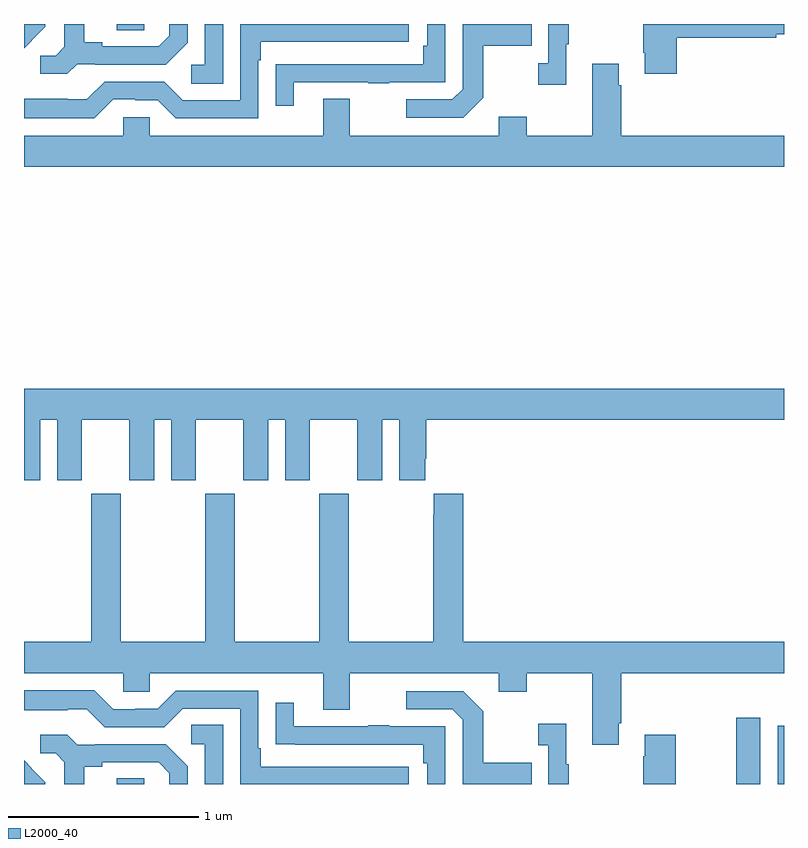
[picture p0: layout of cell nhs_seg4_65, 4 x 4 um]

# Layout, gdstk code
import gdstk
lib = gdstk.Library(unit=1e-6, precision=1e-09)
def R(c, l, rs):  # rectangles x0, y0, x1, y1
    for r in rs: c.add(gdstk.rectangle(r[:2], r[2:], *l))
def P(c, l, *ps):  # polygons
    for p in ps: c.add(gdstk.Polygon(p, *l))
L2000_40 = (2000, 40)

nhs_seg4_65 = lib.new_cell('nhs_seg4_65')
R(nhs_seg4_65, L2000_40, [(113.489,798.9,113.634,798.929), (116.749,798.9,116.875,799.249), (116.966,798.9,117,799.207), (113.489,802.867,113.634,802.9)])
P(nhs_seg4_65, L2000_40, [(115.417,802.513),(115.417,802.786),(115.673,802.786),(115.673,802.9),(115.308,802.9),(115.308,802.557),(115.254,802.503),(115.011,802.503),(115.011,802.407),(115.311,802.407)],
  [(113.469,802.503),(113.585,802.503),(113.585,802.5),(113.703,802.5),(113.799,802.404),(114.234,802.404),(114.234,802.709),(114.247,802.709),(114.247,802.806),(115.024,802.806),(115.024,802.9),(114.138,802.9),(114.138,802.5),(113.835,802.5),(113.739,802.596),(113.424,802.596),(113.331,802.503),(113.231,802.503),(113.231,802.507),(113,802.507),(113,802.403),(113.369,802.403)],
  [(113.04,802.812),(113.039,802.813),(113.112,802.886),(113.112,802.9),(113,802.9),(113,802.772)],
  [(114.421,802.593),(114.811,802.593),(114.811,802.588),(114.923,802.588),(114.923,802.593),(115.218,802.593),(115.218,802.9),(115.122,802.9),(115.122,802.786),(115.102,802.786),(115.102,802.689),(114.427,802.689),(114.427,802.688),(114.325,802.688),(114.325,802.47),(114.421,802.47)],
  [(113.28,802.689),(113.374,802.689),(113.374,802.686),(113.746,802.686),(113.862,802.802),(113.862,802.9),(113.765,802.9),(113.765,802.839),(113.708,802.782),(113.413,802.782),(113.413,802.805),(113.317,802.805),(113.317,802.9),(113.213,802.9),(113.213,802.781),(113.166,802.734),(113.085,802.734),(113.085,802.637),(113.228,802.637)],
  [(116.435,802.828),(116.96,802.828),(116.96,802.847),(117,802.847),(117,802.9),(116.26,802.9),(116.26,802.75),(116.267,802.75),(116.267,802.638),(116.435,802.638)],
  [(114.048,802.9),(113.952,802.9),(113.952,802.686),(113.88,802.686),(113.88,802.585),(114.048,802.585)],
  [(115.855,802.793),(115.867,802.793),(115.867,802.9),(115.758,802.9),(115.758,802.694),(115.707,802.694),(115.707,802.581),(115.855,802.581)],
  [(117,802.312),(116.144,802.312),(116.144,802.577),(116.131,802.577),(116.131,802.69),(115.991,802.69),(115.991,802.312),(115.647,802.312),(115.647,802.411),(115.499,802.411),(115.499,802.312),(114.715,802.312),(114.715,802.507),(114.575,802.507),(114.575,802.312),(113.661,802.312),(113.661,802.41),(113.523,802.41),(113.523,802.312),(113,802.312),(113,802.148),(117,802.148)],
  [(113.086,800.816),(113.174,800.816),(113.174,800.499),(113.305,800.499),(113.305,800.816),(113.555,800.816),(113.555,800.499),(113.686,800.499),(113.686,800.816),(113.774,800.816),(113.774,800.499),(113.905,800.499),(113.905,800.816),(114.155,800.816),(114.155,800.499),(114.286,800.499),(114.286,800.816),(114.374,800.816),(114.374,800.499),(114.505,800.499),(114.505,800.816),(114.755,800.816),(114.755,800.499),(114.886,800.499),(114.886,800.816),(114.974,800.816),(114.974,800.499),(115.111,800.499),(115.111,800.611),(115.118,800.611),(115.118,800.816),(117,800.816),(117,800.98),(113,800.98),(113,800.499),(113.086,800.499)],
  [(116.131,799.219),(116.144,799.219),(116.144,799.484),(117,799.484),(117,799.648),(115.313,799.648),(115.313,800.428),(115.157,800.428),(115.157,800.315),(115.153,800.315),(115.153,799.648),(114.708,799.648),(114.708,800.428),(114.553,800.428),(114.553,799.648),(114.108,799.648),(114.108,800.428),(113.953,800.428),(113.953,799.648),(113.508,799.648),(113.508,800.428),(113.353,800.428),(113.353,799.648),(113,799.648),(113,799.484),(113.523,799.484),(113.523,799.386),(113.661,799.386),(113.661,799.484),(114.575,799.484),(114.575,799.29),(114.715,799.29),(114.715,799.484),(115.499,799.484),(115.499,799.385),(115.647,799.385),(115.647,799.484),(115.991,799.484),(115.991,799.107),(116.131,799.107)],
  [(115.024,798.99),(114.247,798.99),(114.247,799.087),(114.234,799.087),(114.234,799.392),(113.799,799.392),(113.703,799.296),(113.585,799.296),(113.585,799.293),(113.469,799.293),(113.369,799.393),(113,799.393),(113,799.289),(113.231,799.289),(113.231,799.293),(113.331,799.293),(113.424,799.2),(113.739,799.2),(113.835,799.296),(114.138,799.296),(114.138,798.9),(115.024,798.9)],
  [(115.673,799.011),(115.417,799.011),(115.417,799.283),(115.311,799.389),(115.011,799.389),(115.011,799.293),(115.254,799.293),(115.308,799.239),(115.308,798.9),(115.673,798.9)],
  [(115.218,799.203),(114.923,799.203),(114.923,799.208),(114.811,799.208),(114.811,799.203),(114.421,799.203),(114.421,799.327),(114.325,799.327),(114.325,799.108),(114.427,799.108),(114.427,799.107),(115.102,799.107),(115.102,799.01),(115.122,799.01),(115.122,798.9),(115.218,798.9)],
  [(115.867,799.003),(115.855,799.003),(115.855,799.216),(115.707,799.216),(115.707,799.103),(115.758,799.103),(115.758,798.9),(115.867,798.9)],
  [(114.048,799.211),(113.88,799.211),(113.88,799.11),(113.952,799.11),(113.952,798.9),(114.048,798.9)],
  [(113.317,798.992),(113.413,798.992),(113.413,799.014),(113.708,799.014),(113.765,798.957),(113.765,798.9),(113.862,798.9),(113.862,798.994),(113.746,799.11),(113.374,799.11),(113.374,799.107),(113.28,799.107),(113.228,799.159),(113.085,799.159),(113.085,799.062),(113.166,799.062),(113.213,799.015),(113.213,798.9),(113.317,798.9)],
  [(116.43,799.159),(116.267,799.159),(116.267,799.046),(116.26,799.046),(116.26,798.9),(116.43,798.9)],
  [(113.112,798.91),(113.039,798.983),(113.04,798.984),(113,799.024),(113,798.9),(113.112,798.9)])

lib.write_gds('nhs_seg4_65.gds')
